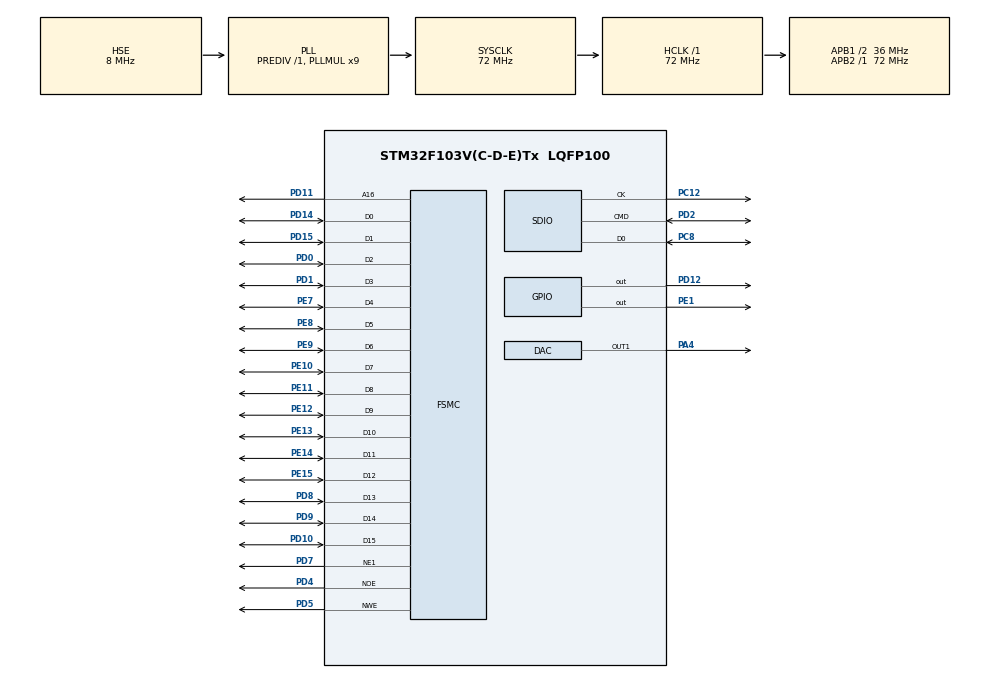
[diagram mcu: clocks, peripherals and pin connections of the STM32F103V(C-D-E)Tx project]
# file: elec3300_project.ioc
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DAC.DAC_OutputBuffer=DAC_OUTPUTBUFFER_ENABLE
DAC.DAC_Trigger=DAC_TRIGGER_T6_TRGO
Dma.DAC_CH1.0.Direction=DMA_MEMORY_TO_PERIPH
Dma.DAC_CH1.0.Instance=DMA2_Channel3
Dma.DAC_CH1.0.MemDataAlignment=DMA_MDATAALIGN_HALFWORD
Dma.DAC_CH1.0.MemInc=DMA_MINC_ENABLE
Dma.DAC_CH1.0.Mode=DMA_CIRCULAR
Dma.DAC_CH1.0.PeriphDataAlignment=DMA_PDATAALIGN_HALFWORD
Dma.DAC_CH1.0.PeriphInc=DMA_PINC_DISABLE
Dma.DAC_CH1.0.Priority=DMA_PRIORITY_LOW
Dma.Request0=DAC_CH1
FATFS._USE_FIND=1
Mcu.Family=STM32F1
Mcu.Name=STM32F103V(C-D-E)Tx
Mcu.Package=LQFP100
NVIC.DMA2_Channel3_IRQn=true\:0\:0\:false\:false\:true\:false\:true\:true
NVIC.PriorityGroup=NVIC_PRIORITYGROUP_4
OSC_IN.Mode=HSE-External-Oscillator
OSC_IN.Signal=RCC_OSC_IN
OSC_OUT.Mode=HSE-External-Oscillator
OSC_OUT.Signal=RCC_OSC_OUT
PA13.Mode=Serial_Wire
PA13.Signal=SYS_JTMS-SWDIO
PA14.Mode=Serial_Wire
PA14.Signal=SYS_JTCK-SWCLK
PA4.Signal=COMP_DAC1_group
PC12.Mode=SD_1_bit
PC12.Signal=SDIO_CK
PC14-OSC32_IN.Mode=LSE-External-Oscillator
PC14-OSC32_IN.Signal=RCC_OSC32_IN
PC15-OSC32_OUT.Mode=LSE-External-Oscillator
PC15-OSC32_OUT.Signal=RCC_OSC32_OUT
PC8.Mode=SD_1_bit
PC8.Signal=SDIO_D0
PD0.Mode=16b-d1
PD0.Signal=FSMC_D2
PD1.Mode=16b-d1
PD1.Signal=FSMC_D3
PD10.Mode=16b-d1
PD10.Signal=FSMC_D15
PD11.Mode=A16_1
PD11.Signal=FSMC_A16
PD12.GPIO_Speed=GPIO_SPEED_FREQ_HIGH
PD12.PinState=GPIO_PIN_SET
PD12.Signal=GPIO_Output
PD14.Mode=16b-d1
PD14.Signal=FSMC_D0
PD15.Mode=16b-d1
PD15.Signal=FSMC_D1
PD2.Mode=SD_1_bit
PD2.Signal=SDIO_CMD
PD4.Mode=Lcd1
PD4.Signal=FSMC_NOE
PD5.Mode=Lcd1
PD5.Signal=FSMC_NWE
PD7.Mode=NorPsramChipSelect1_1
PD7.Signal=FSMC_NE1
PD8.Mode=16b-d1
PD8.Signal=FSMC_D13
PD9.Mode=16b-d1
PD9.Signal=FSMC_D14
PE1.GPIO_Speed=GPIO_SPEED_FREQ_HIGH
PE1.PinState=GPIO_PIN_SET
PE1.Signal=GPIO_Output
PE10.Mode=16b-d1
PE10.Signal=FSMC_D7
PE11.Mode=16b-d1
PE11.Signal=FSMC_D8
PE12.Mode=16b-d1
PE12.Signal=FSMC_D9
PE13.Mode=16b-d1
PE13.Signal=FSMC_D10
PE14.Mode=16b-d1
PE14.Signal=FSMC_D11
PE15.Mode=16b-d1
PE15.Signal=FSMC_D12
PE7.Mode=16b-d1
PE7.Signal=FSMC_D4
PE8.Mode=16b-d1
PE8.Signal=FSMC_D5
PE9.Mode=16b-d1
PE9.Signal=FSMC_D6
ProjectManager.HeapSize=0x200
ProjectManager.StackSize=0x400
ProjectManager.TargetToolchain=STM32CubeIDE
RCC.AHBFreq_Value=72000000
RCC.APB1CLKDivider=RCC_HCLK_DIV2
RCC.APB1Freq_Value=36000000
RCC.APB1TimFreq_Value=72000000
RCC.APB2Freq_Value=72000000
RCC.APB2TimFreq_Value=72000000
RCC.HCLKFreq_Value=72000000
RCC.PLLMUL=RCC_PLL_MUL9
RCC.PLLSourceVirtual=RCC_PLLSOURCE_HSE
RCC.SYSCLKFreq_VALUE=72000000
RCC.SYSCLKSource=RCC_SYSCLKSOURCE_PLLCLK
RCC.USBFreq_Value=72000000
SH.COMP_DAC1_group.0=DAC_OUT1,DAC_OUT1
TIM6.Period=1631
TIM6.Prescaler=0
TIM6.TIM_MasterOutputTrigger=TIM_TRGO_UPDATE
VP_FATFS_VS_SDIO.Mode=SDIO
VP_TIM6_VS_ClockSourceINT.Mode=Enable_Timer
board=custom

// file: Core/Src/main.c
/* USER CODE BEGIN Header */
/**
  ******************************************************************************
  * @file : main.c
  * @brief : Main program body
  ******************************************************************************
  * @attention
  *
  * Copyright (c) 2026 STMicroelectronics.
  * All rights reserved.
  *
  * This software is licensed under terms that can be found in the LICENSE file
  * in the root directory of this software component.
  * If no LICENSE file comes with this software, it is provided AS-IS.
  *
  ******************************************************************************
  */
/* USER CODE END Header */
#include "main.h"
#include "dac.h"
#include "dma.h"
#include "fatfs.h"
#include "sdio.h"
#include "tim.h"
#include "gpio.h"
#include "fsmc.h"

/* USER CODE BEGIN Includes */
#include "lcd.h"
#include <stdio.h>
#include <string.h>
#include <stdint.h>
#include <ctype.h>
#include <math.h>
/* USER CODE END Includes */

/* USER CODE BEGIN PD */
// 緩衝區大小設置為 4096 字節（對應 2048 個 16-bit 採樣）
// DMA 會以「半滿」和「全滿」觸發兩次中斷，每次只需讀取 2048 字節，平衡了內存與讀取頻率
#define AUDIO_BUF_SIZE 4096
/* USER CODE END PD */

/* USER CODE BEGIN PV */
FATFS fs;
FIL wavFile;
FRESULT res;
UINT bytesRead;

// 用於 DMA 的 16-bit 緩衝區（DAC 需要 12 位，但存儲用 16 位寬度）
uint16_t dmaBuffer[AUDIO_BUF_SIZE / 2];
// 用於從 SD 卡讀取原始數據的中間緩衝區
uint8_t  tempReadBuf[AUDIO_BUF_SIZE / 2];

volatile uint8_t refill_half = 0; // 標記哪一半緩衝區需要填充 (0: 前半, 1: 後半)
volatile uint8_t data_request = 0; // 數據請求標誌位
/* USER CODE END PV */

void SystemClock_Config(void);

/* USER CODE BEGIN PFP */
void Play_Wav_NoBlocking(const char* filename);
uint16_t Process_Sample(int16_t pcm_val);
/* USER CODE END PFP */

/* USER CODE BEGIN 0 */
/**
  * @brief DMA 傳輸一半完成回調
  */
void HAL_DAC_ConvHalfCpltCallbackCh1(DAC_HandleTypeDef* hdac) {
    refill_half = 0;    // DMA 正在播放後半部分，我們可以填充前半部分
    data_request = 1;
}

/**
  * @brief DMA 傳輸全部完成回調
  */
void HAL_DAC_ConvCpltCallbackCh1(DAC_HandleTypeDef* hdac) {
    refill_half = 1;    // DMA 正在播放前半部分，我們可以填充後半部分
    data_request = 1;
}

/**
  * @brief 數據處理：將 WAV 的 16位有符號數 轉為 DAC 的 12位無符號數
  */
uint16_t Process_Sample(int16_t pcm_val) {
    // 1. WAV 是有符號的 (-32768 ~ 32767)，先轉為無符號 (0 ~ 65535)
    int32_t val = (int32_t)pcm_val + 32768;
    // 2. 將 16 位映射到 DAC 的 12 位 (0 ~ 4095)
    return (uint16_t)(val >> 4);
}
/* USER CODE END 0 */
int main(void)
{
  HAL_Init();
  SystemClock_Config();

  /* 初始化所有外設 */
  MX_GPIO_Init();
  MX_FSMC_Init();
  MX_SDIO_SD_Init();
  MX_FATFS_Init();
  MX_DAC_Init();
  MX_TIM6_Init();

  /* LCD 顯示初始狀態 */
  LCD_INIT();
  LCD_Clear(0, 0, 240, 320, BACKGROUND);
  LCD_DrawString(10, 10, "System Ready...");

  /* 掛載 SD 卡 */
  if(f_mount(&fs, "", 1) == FR_OK) {
      LCD_DrawString(10, 30, "SD Mounted. Starting Play...");
      Play_Wav_NoBlocking("music.wav");
  } else {
      LCD_DrawString(10, 30, "SD Error!");
  }

  while (1)
  {
    /* 這裡可以放你的 LCD 刷新代碼或其他邏輯
       例如：顯示播放進度、響應按鍵等。
       因為音頻播放交給了 DMA 中斷處理，這裡不會被卡住。
    */
    static uint32_t last_tick = 0;
    if(HAL_GetTick() - last_tick > 500) {
        LCD_DrawString(10, 100, "LCD is still running!");
        last_tick = HAL_GetTick();
    }
  }
}

void Play_Wav_NoBlocking(const char* filename) {
    res = f_open(&wavFile, filename, FA_READ);
    if (res != FR_OK) return;

    // 跳過 44 字節的 WAV 文件頭
    f_lseek(&wavFile, 44);

    // 預填充整個 dmaBuffer
    // 填充前半段
    f_read(&wavFile, tempReadBuf, AUDIO_BUF_SIZE / 2, &bytesRead);
    for(int i=0; i < (AUDIO_BUF_SIZE / 4); i++) {
        int16_t pcm = (tempReadBuf[2*i+1] << 8) | tempReadBuf[2*i];
        dmaBuffer[i] = Process_Sample(pcm);
    }
    // 填充後半段
    f_read(&wavFile, tempReadBuf, AUDIO_BUF_SIZE / 2, &bytesRead);
    for(int i=0; i < (AUDIO_BUF_SIZE / 4); i++) {
        int16_t pcm = (tempReadBuf[2*i+1] << 8) | tempReadBuf[2*i];
        dmaBuffer[i + (AUDIO_BUF_SIZE/4)] = Process_Sample(pcm);
    }

    // 啟動定時器和 DAC DMA 傳輸（模式需設為 Circular）
    HAL_TIM_Base_Start(&htim6);
    HAL_DAC_Start_DMA(&hdac, DAC_CHANNEL_1, (uint32_t*)dmaBuffer, AUDIO_BUF_SIZE / 2, DAC_ALIGN_12B_R);

    // 播放循環
    while(1) {
        // 當 DMA 回調觸發 data_request 時，才進行 SD 卡讀取
        if(data_request) {
            data_request = 0;

            // 每次只讀取緩衝區的一半長度
            f_read(&wavFile, tempReadBuf, AUDIO_BUF_SIZE / 2, &bytesRead);
            if(bytesRead == 0) break; // 播放結束

            // 根據標誌位決定寫入 dmaBuffer 的前半部分還是後半部分
            uint32_t offset = (refill_half == 0) ? 0 : (AUDIO_BUF_SIZE / 4);

            for(int i=0; i < bytesRead/2; i++) {
                int16_t pcm = (tempReadBuf[2*i+1] << 8) | tempReadBuf[2*i];
                dmaBuffer[offset + i] = Process_Sample(pcm);
            }
        }

        // --- 重要：這裡不再使用 delay 或死循環 ---
        // 你可以在這裡處理 LCD 繪圖，音頻會在背景自動播放
        // 注意：不要在循環內放過於耗時的操作，否則 SD 卡數據讀取會過慢導致噪音
    }

    // 停止播放
    HAL_DAC_Stop_DMA(&hdac, DAC_CHANNEL_1);
    HAL_TIM_Base_Stop(&htim6);
    f_close(&wavFile);
}

void SystemClock_Config(void)
{
  RCC_OscInitTypeDef RCC_OscInitStruct = {0};
  RCC_ClkInitTypeDef RCC_ClkInitStruct = {0};

  /** Initializes the RCC Oscillators according to the specified parameters
  * in the RCC_OscInitTypeDef structure.
  */
  RCC_OscInitStruct.OscillatorType = RCC_OSCILLATORTYPE_HSE;
  RCC_OscInitStruct.HSEState = RCC_HSE_ON;
  RCC_OscInitStruct.HSEPredivValue = RCC_HSE_PREDIV_DIV1;
  RCC_OscInitStruct.HSIState = RCC_HSI_ON;
  RCC_OscInitStruct.PLL.PLLState = RCC_PLL_ON;
  RCC_OscInitStruct.PLL.PLLSource = RCC_PLLSOURCE_HSE;
  RCC_OscInitStruct.PLL.PLLMUL = RCC_PLL_MUL9;
  if (HAL_RCC_OscConfig(&RCC_OscInitStruct) != HAL_OK)
  {
    Error_Handler();
  }

  /** Initializes the CPU, AHB and APB buses clocks
  */
  RCC_ClkInitStruct.ClockType = RCC_CLOCKTYPE_HCLK|RCC_CLOCKTYPE_SYSCLK
                              |RCC_CLOCKTYPE_PCLK1|RCC_CLOCKTYPE_PCLK2;
  RCC_ClkInitStruct.SYSCLKSource = RCC_SYSCLKSOURCE_PLLCLK;
  RCC_ClkInitStruct.AHBCLKDivider = RCC_SYSCLK_DIV1;
  RCC_ClkInitStruct.APB1CLKDivider = RCC_HCLK_DIV2;
  RCC_ClkInitStruct.APB2CLKDivider = RCC_HCLK_DIV1;

  if (HAL_RCC_ClockConfig(&RCC_ClkInitStruct, FLASH_LATENCY_2) != HAL_OK)
  {
    Error_Handler();
  }
}

void Error_Handler(void)
{
  __disable_irq();
  while (1)
  {
  }
}
